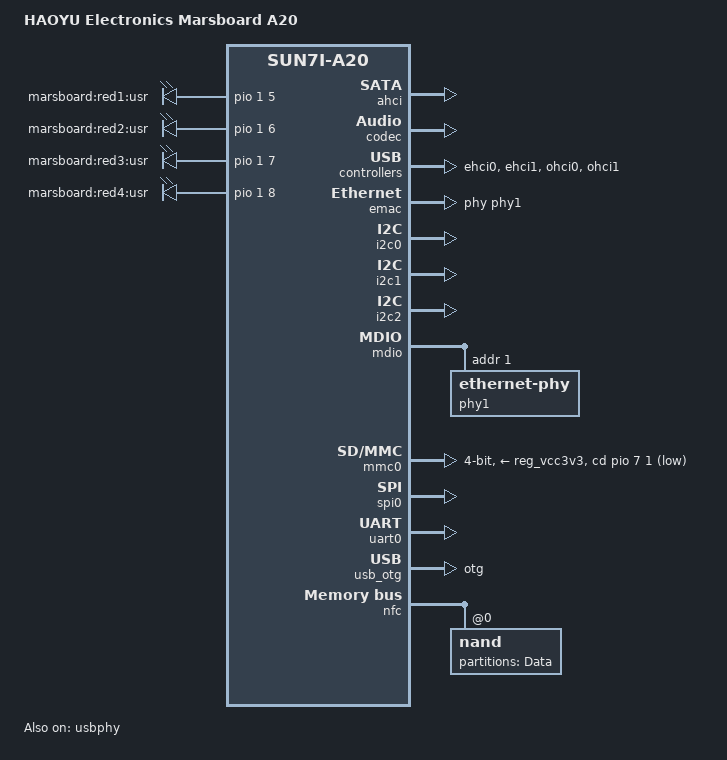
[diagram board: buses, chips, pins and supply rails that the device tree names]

/dts-v1/;
#include "sun7i-a20.dtsi"
#include "sunxi-common-regulators.dtsi"

#include <dt-bindings/gpio/gpio.h>

/ {
	model = "HAOYU Electronics Marsboard A20";
	compatible = "haoyu,a20-marsboard", "allwinner,sun7i-a20";

	aliases {
		serial0 = &uart0;
	};

	chosen {
		stdout-path = "serial0:115200n8";
	};

	leds {
		compatible = "gpio-leds";

		red1 {
			label = "marsboard:red1:usr";
			gpios = <&pio 1 5 GPIO_ACTIVE_HIGH>;
		};

		red2 {
			label = "marsboard:red2:usr";
			gpios = <&pio 1 6 GPIO_ACTIVE_HIGH>;
		};

		red3 {
			label = "marsboard:red3:usr";
			gpios = <&pio 1 7 GPIO_ACTIVE_HIGH>;
		};

		red4 {
			label = "marsboard:red4:usr";
			gpios = <&pio 1 8 GPIO_ACTIVE_HIGH>;
		};
	};
};

&ahci {
	status = "okay";
};

&codec {
	status = "okay";
};

&ehci0 {
	status = "okay";
};

&ehci1 {
	status = "okay";
};

&emac_sram {
	status = "okay";
};

&emac {
	phy = <&phy1>;
	status = "okay";
};

&i2c0 {
	status = "okay";
};

&i2c1 {
	status = "okay";
};

&i2c2 {
	status = "okay";
};

&mdio {
	status = "okay";

	phy1: ethernet-phy@1 {
		reg = <1>;
	};
};

&mmc0 {
	vmmc-supply = <&reg_vcc3v3>;
	bus-width = <4>;
	cd-gpios = <&pio 7 1 GPIO_ACTIVE_LOW>; /* PH1 */
	status = "okay";
};

&ohci0 {
	status = "okay";
};

&ohci1 {
	status = "okay";
};

&otg_sram {
	status = "okay";
};

&pio {
	usb0_id_detect_pin: usb0-id-detect-pin {
		pins = "PH4";
		function = "gpio_in";
		bias-pull-up;
	};
};

&reg_usb1_vbus {
	status = "okay";
};

&reg_usb2_vbus {
	status = "okay";
};

&spi0 {
	pinctrl-names = "default";
	pinctrl-0 = <&spi0_pi_pins>,
		    <&spi0_cs0_pi_pin>;
	status = "okay";
};

&uart0 {
	pinctrl-names = "default";
	pinctrl-0 = <&uart0_pb_pins>;
	status = "okay";
};

&usb_otg {
	dr_mode = "otg";
	status = "okay";
};

&usbphy {
	pinctrl-names = "default";
	pinctrl-0 = <&usb0_id_detect_pin>;
	usb0_id_det-gpio = <&pio 7 4 GPIO_ACTIVE_HIGH>; /* PH4 */
	usb1_vbus-supply = <&reg_usb1_vbus>;
	usb2_vbus-supply = <&reg_usb2_vbus>;
	status = "okay";
};

&nfc {
	pinctrl-names = "default";
	pinctrl-0 = <&nand_pins_a>, <&nand_cs0_pins_a>, <&nand_rb0_pins_a>;
	status = "okay";

	nand@0 {
		reg = <0>;
		allwinner,rb = <0>;
		nand-ecc-mode = "hw";
		nand-on-flash-bbt;

		partitions {
			compatible = "fixed-partitions";
			#address-cells = <1>;
			#size-cells = <2>;

			partition@0 {
				label = "Data";
				reg = <0x00000000 0x1 0x00000000>;
			};
		};
	};
};
